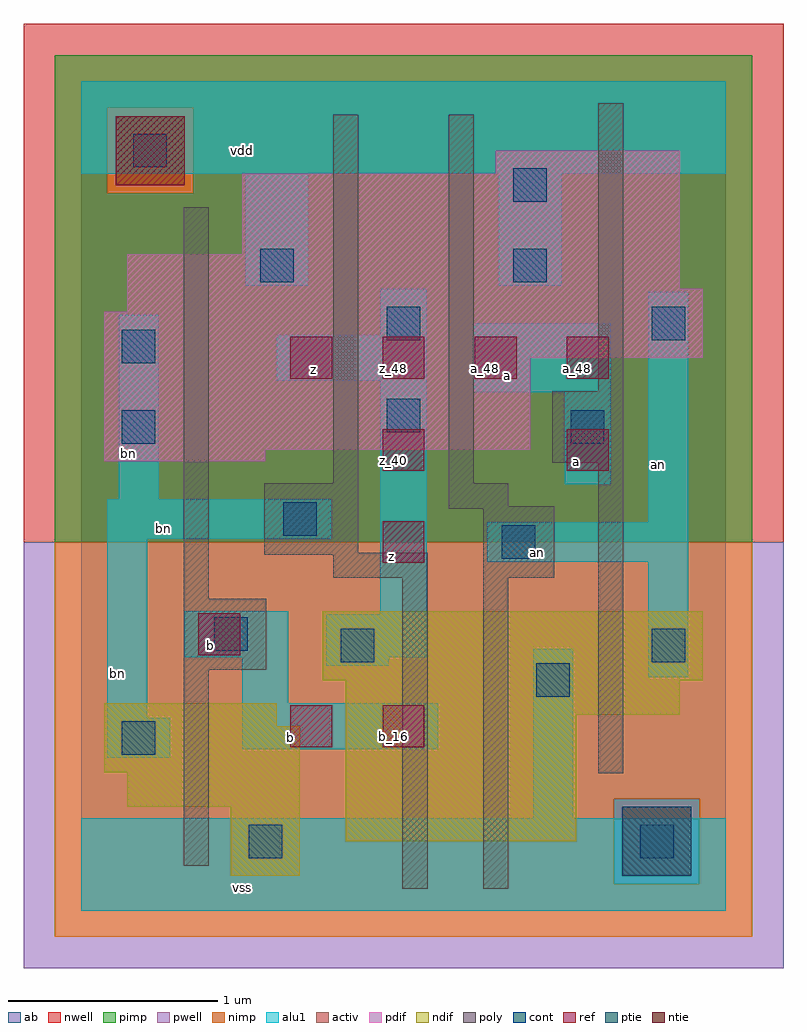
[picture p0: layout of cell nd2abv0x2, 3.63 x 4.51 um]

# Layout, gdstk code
import gdstk
lib = gdstk.Library(unit=1e-6, precision=2.5e-09)
def R(c, l, rs):  # rectangles x0, y0, x1, y1
    for r in rs: c.add(gdstk.rectangle(r[:2], r[2:], *l))
def A(c, l, x, y, w, h, nx, ny, dx, dy):  # array of equal rectangles
    R(c, l, [(x+i*dx, y+j*dy, x+i*dx+w, y+j*dy+h) for i in range(nx) for j in range(ny)])
ndif = (3, 0)
pdif = (4, 0)
ntie = (5, 0)
ptie = (6, 0)
ref = (24, 0)
cont = (25, 0)
pwell = (41, 0)
nwell = (42, 0)
activ = (43, 0)
pimp = (44, 0)
nimp = (45, 0)
poly = (46, 0)
alu1 = (49, 0)
ab = (63, 0)

nd2abv0x2 = lib.new_cell('nd2abv0x2')
R(nd2abv0x2, ndif, [(0.715,0.165,1.045,0.495), (1.265,0.33,2.365,0.935), (0.22,0.495,1.045,0.66), (0.11,0.66,1.045,0.88), (0.11,0.88,0.935,0.99), (1.265,0.935,2.86,1.1), (1.155,1.1,2.97,1.43)])
R(nd2abv0x2, pdif, [(0.11,2.145,0.88,2.2), (0.11,2.2,2.145,2.64), (0.11,2.64,2.97,2.86), (0.22,2.86,2.97,2.97), (0.22,2.97,2.86,3.135), (0.77,3.135,2.86,3.52), (1.98,3.52,2.86,3.63)])
R(nd2abv0x2, ntie, [(0.165,3.465,0.495,3.795)])
R(nd2abv0x2, ptie, [(2.585,0.165,2.915,0.495)])
A(nd2abv0x2, ref, 1, 2.54, 0.2, 0.2, 4, 1, 0.44, 0)
R(nd2abv0x2, ref, [(1,0.78,1.2,0.98), (1.44,0.78,1.64,0.98), (0.56,1.22,0.76,1.42), (1.44,1.66,1.64,1.86), (1.44,2.1,1.64,2.3), (2.32,2.1,2.52,2.3)])
R(nd2abv0x2, cont, [(0.8,0.25,0.96,0.41), (2.67,0.25,2.83,0.41), (0.195,0.745,0.355,0.905), (2.175,1.02,2.335,1.18), (1.24,1.185,1.4,1.345), (2.725,1.185,2.885,1.345), (0.635,1.24,0.795,1.4), (2.01,1.68,2.17,1.84), (0.965,1.79,1.125,1.95), (0.195,2.23,0.355,2.39), (2.34,2.23,2.5,2.39), (1.46,2.285,1.62,2.445), (0.195,2.615,0.355,2.775), (1.46,2.725,1.62,2.885), (2.725,2.725,2.885,2.885), (0.855,3,1.015,3.16), (2.065,3,2.225,3.16), (2.065,3.385,2.225,3.545), (0.25,3.55,0.41,3.71)])
R(nd2abv0x2, pwell, [(-0.275,-0.275,3.355,1.76)])
R(nd2abv0x2, nwell, [(-0.275,1.76,3.355,4.235)])
R(nd2abv0x2, activ, [(0.715,0.165,1.045,0.495), (2.585,0.165,2.915,0.495), (1.265,0.33,2.365,0.935), (0.22,0.495,1.045,0.66), (0.11,0.66,1.045,0.88), (0.11,0.88,0.935,0.99), (1.265,0.935,2.86,1.1), (1.155,1.1,2.97,1.43), (0.11,2.145,0.88,2.2), (0.11,2.2,2.145,2.64), (0.11,2.64,2.97,2.86), (0.22,2.86,2.97,2.97), (0.22,2.97,2.86,3.135), (0.77,3.135,2.86,3.52), (0.165,3.465,0.495,3.795), (1.98,3.52,2.86,3.63)])
R(nd2abv0x2, pimp, [(2.545,0.125,2.955,0.535), (-0.125,1.76,3.205,3.425), (-0.125,3.425,0.125,3.835), (0.535,3.425,3.205,3.835), (-0.125,3.835,3.205,4.085)])
R(nd2abv0x2, nimp, [(-0.125,-0.125,3.205,0.125), (-0.125,0.125,2.545,0.535), (2.955,0.125,3.205,0.535), (-0.125,0.535,3.205,1.76), (0.125,3.425,0.535,3.835)])
R(nd2abv0x2, poly, [(1.535,0.105,1.655,1.59), (1.92,0.105,2.04,1.59), (0.49,0.215,0.61,1.15), (2.47,0.655,2.59,2.14), (0.49,1.15,0.885,1.49), (0.49,1.49,0.61,3.36), (1.205,1.59,1.655,1.7), (1.92,1.59,2.26,1.92), (0.875,1.7,1.655,1.71), (0.875,1.71,1.325,2.04), (1.755,1.92,2.26,1.93), (1.755,1.93,2.04,2.04), (1.205,2.04,1.325,3.8), (1.755,2.04,1.875,3.8), (2.25,2.14,2.59,2.48), (2.47,2.48,2.59,3.855)])
R(nd2abv0x2, alu1, [(0,0,3.08,0.44), (2.16,0.44,2.35,1.25), (0.125,0.73,0.425,0.92), (0.77,0.77,1.705,0.99), (0.125,0.92,0.315,1.775), (0.77,0.99,0.99,1.21), (2.71,1.115,2.9,1.665), (1.17,1.17,1.47,1.21), (0.495,1.21,0.99,1.43), (1.17,1.21,1.65,1.415), (1.43,1.415,1.65,2.53), (1.94,1.665,2.9,1.855), (0.125,1.775,1.195,1.965), (2.71,1.855,2.9,2.955), (0.18,1.965,0.37,2.845), (2.31,2.035,2.53,2.475), (1.87,2.475,2.53,2.805), (0.935,2.53,1.65,2.75), (1.43,2.75,1.65,2.97), (0.785,2.985,1.085,3.52), (1.995,2.985,2.295,3.52), (0,3.52,3.08,3.96)])
R(nd2abv0x2, ab, [(0,0,3.08,3.96)])
nd2abv0x2.add(gdstk.Label('vss', (0.77,0.11), layer=49, texttype=0))
nd2abv0x2.add(gdstk.Label('b', (1.0025,0.825), layer=49, texttype=0))
nd2abv0x2.add(gdstk.Label('an', (2.18,1.7125), layer=49, texttype=0))
nd2abv0x2.add(gdstk.Label('an', (2.7575,2.13), layer=49, texttype=0))
nd2abv0x2.add(gdstk.Label('a', (2.365,2.145), layer=49, texttype=0))
nd2abv0x2.add(gdstk.Label('a', (2.035,2.5575), layer=49, texttype=0))
nd2abv0x2.add(gdstk.Label('z', (1.485,1.6925), layer=49, texttype=0))
nd2abv0x2.add(gdstk.Label('b', (0.6175,1.265), layer=49, texttype=0))
nd2abv0x2.add(gdstk.Label('bn', (0.1725,1.1325), layer=49, texttype=0))
nd2abv0x2.add(gdstk.Label('bn', (0.3925,1.8225), layer=49, texttype=0))
nd2abv0x2.add(gdstk.Label('z', (1.1125,2.585), layer=49, texttype=0))
nd2abv0x2.add(gdstk.Label('bn', (0.2275,2.185), layer=49, texttype=0))
nd2abv0x2.add(gdstk.Label('vdd', (0.77,3.63), layer=49, texttype=0))
nd2abv0x2.add(gdstk.Label('b_24', (0.61,1.27), layer=24, texttype=0))
nd2abv0x2.add(gdstk.Label('b_16', (1.05,0.83), layer=24, texttype=0))
nd2abv0x2.add(gdstk.Label('z_48', (1.05,2.59), layer=24, texttype=0))
nd2abv0x2.add(gdstk.Label('b_16', (1.49,0.83), layer=24, texttype=0))
nd2abv0x2.add(gdstk.Label('z_32', (1.49,1.71), layer=24, texttype=0))
nd2abv0x2.add(gdstk.Label('z_40', (1.49,2.15), layer=24, texttype=0))
nd2abv0x2.add(gdstk.Label('z_48', (1.49,2.59), layer=24, texttype=0))
nd2abv0x2.add(gdstk.Label('a_48', (1.93,2.59), layer=24, texttype=0))
nd2abv0x2.add(gdstk.Label('a_40', (2.37,2.15), layer=24, texttype=0))
nd2abv0x2.add(gdstk.Label('a_48', (2.37,2.59), layer=24, texttype=0))

lib.write_gds('nd2abv0x2.gds')
